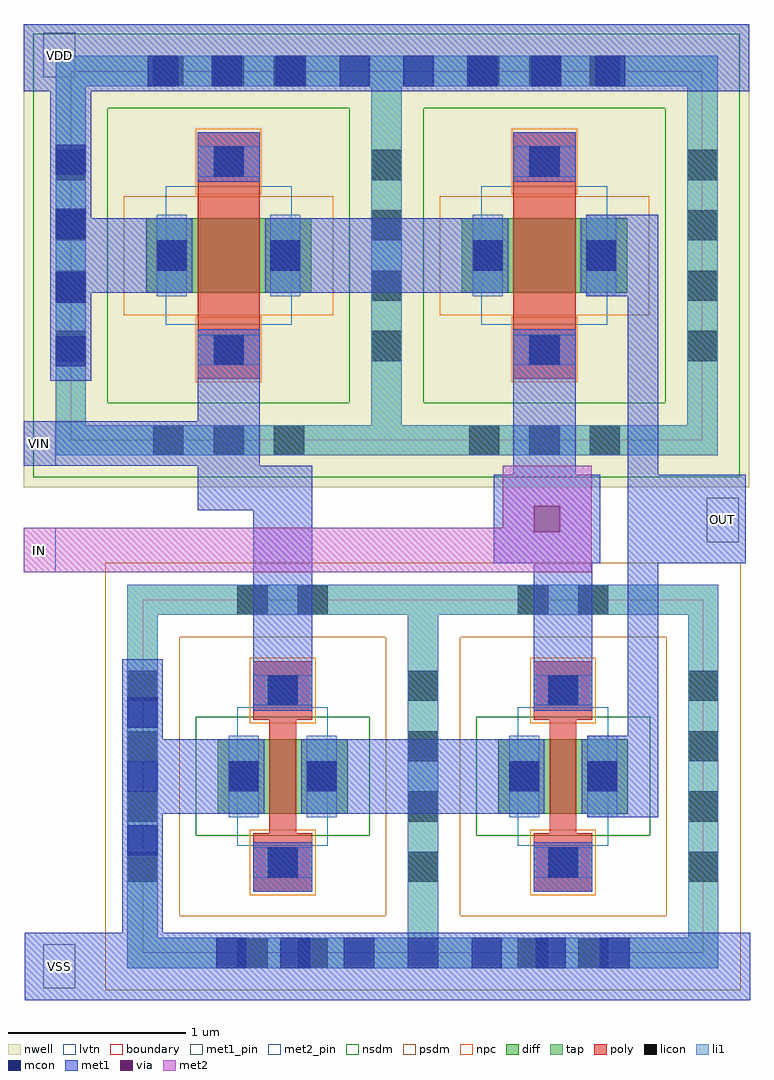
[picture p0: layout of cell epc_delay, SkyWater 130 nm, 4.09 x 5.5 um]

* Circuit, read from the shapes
.subckt epc_delay IN OUT VDD VIN VSS
XM1 n1 VIN VSS VSS sky130_fd_pr__nfet_01v8_lvt w=0.42 l=0.15
XM2 OUT IN n1 VSS sky130_fd_pr__nfet_01v8_lvt w=0.42 l=0.15
XM3 n2 VIN VDD VDD sky130_fd_pr__pfet_01v8_lvt w=0.42 l=0.35
XM4 OUT IN n2 VDD sky130_fd_pr__pfet_01v8_lvt w=0.42 l=0.35
.ends

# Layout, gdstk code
import gdstk
lib = gdstk.Library(unit=1e-6, precision=1e-09)
def R(c, l, rs):  # rectangles x0, y0, x1, y1
    for r in rs: c.add(gdstk.rectangle(r[:2], r[2:], *l))
def A(c, l, x, y, w, h, nx, ny, dx, dy):  # array of equal rectangles
    R(c, l, [(x+i*dx, y+j*dy, x+i*dx+w, y+j*dy+h) for i in range(nx) for j in range(ny)])
nwell = (64, 20)
diff = (65, 20)
tap = (65, 44)
poly = (66, 20)
licon = (66, 44)
li1 = (67, 20)
mcon = (67, 44)
met1_pin = (68, 16)
met1 = (68, 20)
via = (68, 44)
met2_pin = (69, 16)
met2 = (69, 20)
nsdm = (93, 44)
psdm = (94, 20)
npc = (95, 20)
lvtn = (125, 44)
boundary = (235, 4)

sky130_fd_pr__pfet_01v8_ = lib.new_cell('sky130_fd_pr__pfet_01v8_lvt_A33RKA')
R(sky130_fd_pr__pfet_01v8_, nwell, [(-1.155,-1.305,1.155,1.305)])
R(sky130_fd_pr__pfet_01v8_, diff, [(-0.465,-0.21,0.465,0.21)])
R(sky130_fd_pr__pfet_01v8_, tap, [(-0.975,-1.125,0.975,-0.955), (-0.975,-0.955,-0.805,0.955), (0.805,-0.955,0.975,0.955), (-0.975,0.955,0.975,1.125)])
R(sky130_fd_pr__pfet_01v8_, poly, [(-0.175,-0.695,0.175,0.695)])
A(sky130_fd_pr__pfet_01v8_, licon, -0.425, -1.125, 0.17, 0.17, 3, 2, 0.34, 2.08)
A(sky130_fd_pr__pfet_01v8_, licon, -0.975, -0.595, 0.17, 0.17, 1, 4, 0, 0.34)
A(sky130_fd_pr__pfet_01v8_, licon, 0.805, -0.595, 0.17, 0.17, 1, 4, 0, 0.34)
R(sky130_fd_pr__pfet_01v8_, licon, [(-0.085,-0.615,0.085,-0.445), (-0.405,-0.085,-0.235,0.085), (0.235,-0.085,0.405,0.085), (-0.085,0.445,0.085,0.615)])
R(sky130_fd_pr__pfet_01v8_, li1, [(-0.975,-1.125,0.975,-0.955), (-0.975,-0.955,-0.805,0.955), (0.805,-0.955,0.975,0.955), (-0.175,-0.615,0.175,-0.445), (-0.405,-0.23,-0.235,0.23), (0.235,-0.23,0.405,0.23), (-0.175,0.445,0.175,0.615), (-0.975,0.955,0.975,1.125)])
R(sky130_fd_pr__pfet_01v8_, mcon, [(-0.085,-0.615,0.085,-0.445), (-0.405,-0.085,-0.235,0.085), (0.235,-0.085,0.405,0.085), (-0.085,0.445,0.085,0.615)])
R(sky130_fd_pr__pfet_01v8_, met1, [(-0.155,-0.645,0.155,-0.415), (-0.435,-0.21,-0.205,0.21), (0.205,-0.21,0.435,0.21), (-0.155,0.415,0.155,0.645)])
R(sky130_fd_pr__pfet_01v8_, nsdm, [(-1.1,-1.25,1.1,-0.83), (-1.1,-0.83,-0.68,0.83), (0.68,-0.83,1.1,0.83), (-1.1,0.83,1.1,1.25)])
R(sky130_fd_pr__pfet_01v8_, psdm, [(-0.59,-0.335,0.59,0.335)])
R(sky130_fd_pr__pfet_01v8_, npc, [(-0.185,-0.715,0.185,-0.345), (-0.185,0.345,0.185,0.715)])
R(sky130_fd_pr__pfet_01v8_, lvtn, [(-0.355,-0.39,0.355,0.39)])
R(sky130_fd_pr__pfet_01v8_, boundary, [(-0.89,-1.04,0.89,1.04)])

sky130_fd_pr__nfet_01v8_ = lib.new_cell('sky130_fd_pr__nfet_01v8_lvt_BK97Z7')
R(sky130_fd_pr__nfet_01v8_, diff, [(-0.365,-0.21,0.365,0.21)])
R(sky130_fd_pr__nfet_01v8_, tap, [(-0.875,-1.08,0.875,-0.91), (-0.875,-0.91,-0.705,0.91), (0.705,-0.91,0.875,0.91), (-0.875,0.91,0.875,1.08)])
R(sky130_fd_pr__nfet_01v8_, poly, [(-0.165,-0.65,0.165,-0.32), (-0.075,-0.32,0.075,0.32), (-0.165,0.32,0.165,0.65)])
A(sky130_fd_pr__nfet_01v8_, licon, -0.875, -0.595, 0.17, 0.17, 1, 4, 0, 0.34)
A(sky130_fd_pr__nfet_01v8_, licon, 0.705, -0.595, 0.17, 0.17, 1, 4, 0, 0.34)
R(sky130_fd_pr__nfet_01v8_, licon, [(-0.255,-1.08,-0.085,-0.91), (0.085,-1.08,0.255,-0.91), (-0.085,-0.57,0.085,-0.4), (-0.305,-0.085,-0.135,0.085), (0.135,-0.085,0.305,0.085), (-0.085,0.4,0.085,0.57), (-0.255,0.91,-0.085,1.08), (0.085,0.91,0.255,1.08)])
R(sky130_fd_pr__nfet_01v8_, li1, [(-0.875,-1.08,0.875,-0.91), (-0.875,-0.91,-0.705,0.91), (0.705,-0.91,0.875,0.91), (-0.165,-0.57,0.165,-0.4), (-0.305,-0.23,-0.135,0.23), (0.135,-0.23,0.305,0.23), (-0.165,0.4,0.165,0.57), (-0.875,0.91,0.875,1.08)])
R(sky130_fd_pr__nfet_01v8_, mcon, [(-0.085,-0.57,0.085,-0.4), (-0.305,-0.085,-0.135,0.085), (0.135,-0.085,0.305,0.085), (-0.085,0.4,0.085,0.57)])
R(sky130_fd_pr__nfet_01v8_, met1, [(-0.145,-0.6,0.145,-0.37), (-0.335,-0.21,-0.105,0.21), (0.105,-0.21,0.335,0.21), (-0.145,0.37,0.145,0.6)])
R(sky130_fd_pr__nfet_01v8_, nsdm, [(-0.49,-0.335,0.49,0.335)])
R(sky130_fd_pr__nfet_01v8_, psdm, [(-1,-1.205,1,-0.785), (-1,-0.785,-0.58,0.785), (0.58,-0.785,1,0.785), (-1,0.785,1,1.205)])
R(sky130_fd_pr__nfet_01v8_, npc, [(-0.185,-0.67,0.185,-0.3), (-0.185,0.3,0.185,0.67)])
R(sky130_fd_pr__nfet_01v8_, lvtn, [(-0.255,-0.39,0.255,0.39)])
R(sky130_fd_pr__nfet_01v8_, boundary, [(-0.79,-0.995,0.79,0.995)])

epc_delay = lib.new_cell('epc_delay')
R(epc_delay, li1, [(0.8,-2.68,3.17,-2.51), (0.32,-2.2,0.49,-1), (0.89,-1.75,1.06,-1.45), (1.33,-1.75,1.5,-1.45), (2.47,-1.75,2.64,-1.45), (2.91,-1.75,3.08,-1.45), (-0.085,0.69,0.085,1.98), (0.485,1.185,0.655,1.485), (1.125,1.185,1.295,1.485), (2.265,1.185,2.435,1.485), (2.905,1.185,3.075,1.485), (0.395,2.29,3.165,2.46)])
A(epc_delay, mcon, 0.82, -2.68, 0.17, 0.17, 7, 1, 0.36, 0)
A(epc_delay, mcon, 0.32, -2.045, 0.17, 0.17, 1, 3, 0, 0.36)
A(epc_delay, mcon, -0.085, 0.71, 0.17, 0.17, 1, 4, 0, 0.36)
A(epc_delay, mcon, 0.435, 2.29, 0.17, 0.17, 8, 1, 0.36, 0)
R(epc_delay, mcon, [(0.89,-1.685,1.06,-1.515), (1.33,-1.685,1.5,-1.515), (2.47,-1.685,2.64,-1.515), (2.91,-1.685,3.08,-1.515), (0.485,1.25,0.655,1.42), (1.125,1.25,1.295,1.42), (2.265,1.25,2.435,1.42), (2.905,1.25,3.075,1.42)])
R(epc_delay, met1_pin, [(-0.155,-2.795,0.025,-2.545), (3.585,-0.28,3.765,-0.03), (-0.265,0.15,-0.085,0.4), (-0.155,2.34,0.025,2.59)])
R(epc_delay, met1, [(-0.26,-2.86,3.83,-2.48), (0.29,-2.48,0.52,-1.81), (1.03,-2.25,1.36,-1.97), (2.61,-2.25,2.94,-1.97), (2.91,-1.83,3.31,-1.81), (0.29,-1.81,1.09,-1.39), (1.3,-1.81,2.67,-1.39), (2.88,-1.81,3.31,-1.39), (0.29,-1.39,0.52,-0.94), (2.91,-1.39,3.31,-1.37), (3.14,-1.37,3.31,-0.4), (1.03,-1.23,1.36,-0.1), (2.61,-1.23,2.94,-0.4), (2.385,-0.4,2.985,0.1), (3.14,-0.4,3.805,0.1), (0.715,-0.1,1.36,0.15), (2.495,0.1,2.845,0.92), (3.14,0.1,3.31,1.105), (-0.265,0.15,1.065,0.4), (0.715,0.4,1.065,0.92), (-0.115,0.63,0.115,1.125), (2.905,1.105,3.31,1.125), (-0.115,1.125,0.685,1.545), (1.095,1.125,2.465,1.545), (2.875,1.125,3.31,1.545), (-0.115,1.545,0.115,2.26), (2.905,1.545,3.31,1.565), (0.715,1.75,1.065,2.03), (2.495,1.75,2.845,2.03), (-0.265,2.26,3.825,2.64)])
R(epc_delay, via, [(2.61,-0.225,2.76,-0.075)])
R(epc_delay, met2_pin, [(-0.265,-0.45,-0.085,-0.2)])
R(epc_delay, met2, [(-0.265,-0.45,2.935,-0.2), (2.435,-0.2,2.935,0.15)])
epc_delay.add(gdstk.Reference(sky130_fd_pr__pfet_01v8_, (2.67,1.335)))
epc_delay.add(gdstk.Reference(sky130_fd_pr__pfet_01v8_, (0.89,1.335)))
epc_delay.add(gdstk.Reference(sky130_fd_pr__nfet_01v8_, (1.195,-1.6)))
epc_delay.add(gdstk.Reference(sky130_fd_pr__nfet_01v8_, (2.775,-1.6)))
epc_delay.add(gdstk.Label('VDD', (-0.065,2.465), layer=68, texttype=5))
epc_delay.add(gdstk.Label('VSS', (-0.065,-2.67), layer=68, texttype=5))
epc_delay.add(gdstk.Label('VIN', (-0.175,0.275), layer=68, texttype=5))
epc_delay.add(gdstk.Label('IN', (-0.175,-0.325), layer=69, texttype=5))
epc_delay.add(gdstk.Label('OUT', (3.675,-0.155), layer=68, texttype=5))

lib.write_gds('epc_delay.gds')
